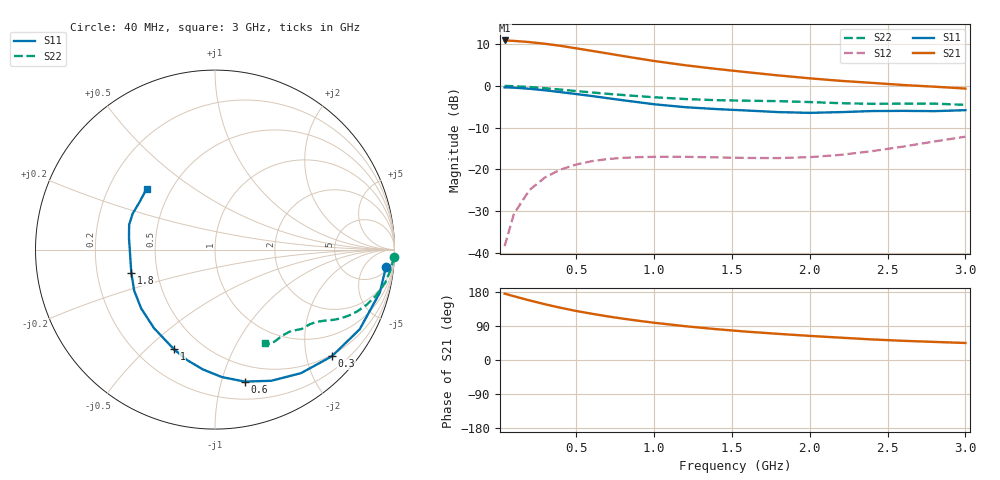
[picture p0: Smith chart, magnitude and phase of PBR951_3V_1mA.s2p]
! Filename:  PBR951B.S2P  Version:  3.0
! Philips part #:  PBR951  Date: July 1998
! Bias condition:  Vce=3V, Ic=1.0mA
#  MHz  S  MA  R 50
! Freq  S11  S21  S12  S22
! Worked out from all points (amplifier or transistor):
!   21 points, 40 MHz to 3 GHz, reference 50 ohm
!   highest |S21| = 10.8 dB at 40 MHz (marker M1)
!   |S21| within 3 dB of that: start of sweep to 683.9 MHz
!   unconditionally stable (mu >= 1): 1.737 GHz to 2.762 GHz
!   at 300 MHz: K = 0.16, MSG = 16.0 dB, |S12| = -21.9 dB
!   at 1 GHz: K = 0.57, MSG = 11.5 dB, |S12| = -17.0 dB
!   at 3 GHz: K = 0.97, MSG = 5.8 dB, |S12| = -12.2 dB
!   S11 on the Smith chart (normalised r, x): 40 MHz: 7, -16; 300 MHz: 0.47, -2.50; 600 MHz: 0.35, -1.19; 1 GHz: 0.35, -0.61; 1.8 GHz: 0.35, -0.12; 3 GHz: 0.37, +0.33
40  0.9575 -5.9  3.487 175.2  0.01201 86.5  0.9962 -2.3
100  0.9489 -14.6  3.444 168.2  0.02933 81.3  0.989 -5.7
200  0.9204 -28.8  3.334 157.3  0.05652 73.2  0.9661 -11.0
300  0.8817 -42.4  3.183 147.0  0.08009 66.1  0.9345 -15.8
400  0.8387 -55.1  3.004 137.8  0.09937 59.9  0.8995 -20.0
500  0.7955 -66.7  2.808 129.4  0.114 54.7  0.864 -23.5
600  0.7539 -77.3  2.618 122.1  0.125 50.4  0.8312 -26.3
700  0.7111 -86.9  2.441 115.3  0.1325 47.1  0.8016 -28.4
800  0.6708 -95.8  2.27 109.1  0.1371 44.4  0.7753 -30.2
900  0.6348 -104.2  2.12 103.5  0.1398 42.3  0.7508 -31.6
1000  0.6008 -112.3  1.98 98.4  0.1409 40.9  0.7289 -32.9
1200  0.554 -127.9  1.761 89.2  0.141 39.6  0.6936 -35.5
1400  0.5259 -141.5  1.592 81.3  0.1389 40.7  0.672 -38.2
1600  0.505 -153.1  1.451 74.6  0.1367 44.5  0.662 -40.7
1800  0.4836 -164.7  1.329 68.9  0.1362 50.1  0.6542 -42.5
2000  0.4738 -176.9  1.228 63.7  0.1397 56.9  0.6383 -44.5
2200  0.4837 172.2  1.145 58.9  0.1489 63.6  0.6182 -47.7
2400  0.498 163.8  1.083 54.3  0.1648 69.7  0.6082 -52.2
2600  0.5007 156.4  1.021 50.6  0.1871 74.5  0.6104 -56.4
2800  0.4968 147.7  0.9748 47.7  0.2151 77.7  0.6107 -59.4
3000  0.51 138.4  0.9261 44.9  0.2456 79.8  0.591 -62.0
